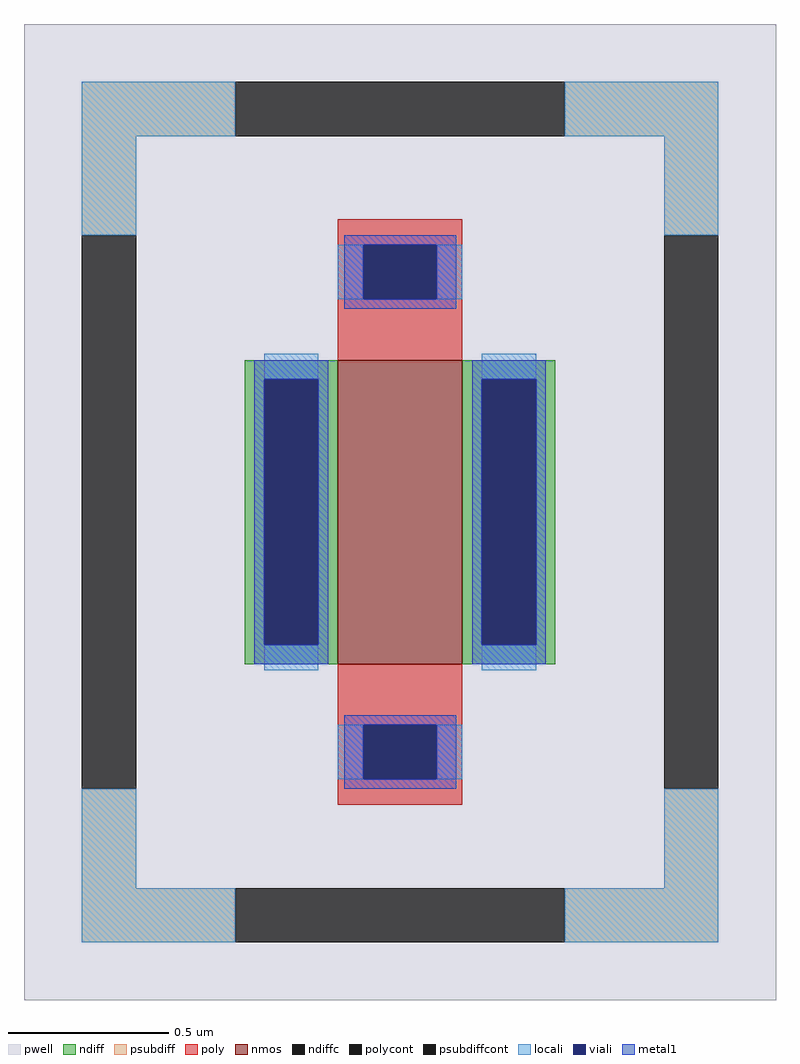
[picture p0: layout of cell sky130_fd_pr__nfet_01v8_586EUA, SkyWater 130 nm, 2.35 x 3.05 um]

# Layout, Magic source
magic
tech sky130A
magscale 1 2
<< pwell >>
rect -235 -305 235 305
<< nmos >>
rect -39 -95 39 95
<< ndiff >>
rect -97 83 -39 95
rect -97 -83 -85 83
rect -51 -83 -39 83
rect -97 -95 -39 -83
rect 39 83 97 95
rect 39 -83 51 83
rect 85 -83 97 83
rect 39 -95 97 -83
<< ndiffc >>
rect -85 -83 -51 83
rect 51 -83 85 83
<< psubdiff >>
rect -199 235 -103 269
rect 103 235 199 269
rect -199 173 -165 235
rect 165 173 199 235
rect -199 -235 -165 -173
rect 165 -235 199 -173
rect -199 -269 -103 -235
rect 103 -269 199 -235
<< psubdiffcont >>
rect -103 235 103 269
rect -199 -173 -165 173
rect 165 -173 199 173
rect -103 -269 103 -235
<< poly >>
rect -39 167 39 183
rect -39 133 -23 167
rect 23 133 39 167
rect -39 95 39 133
rect -39 -133 39 -95
rect -39 -167 -23 -133
rect 23 -167 39 -133
rect -39 -183 39 -167
<< polycont >>
rect -23 133 23 167
rect -23 -167 23 -133
<< locali >>
rect -199 235 -103 269
rect 103 235 199 269
rect -199 173 -165 235
rect 165 173 199 235
rect -39 133 -23 167
rect 23 133 39 167
rect -85 83 -51 99
rect -85 -99 -51 -83
rect 51 83 85 99
rect 51 -99 85 -83
rect -39 -167 -23 -133
rect 23 -167 39 -133
rect -199 -235 -165 -173
rect 165 -235 199 -173
rect -199 -269 -103 -235
rect 103 -269 199 -235
<< viali >>
rect -23 133 23 167
rect -85 -83 -51 83
rect 51 -83 85 83
rect -23 -167 23 -133
<< metal1 >>
rect -35 167 35 173
rect -35 133 -23 167
rect 23 133 35 167
rect -35 127 35 133
rect -91 83 -45 95
rect -91 -83 -85 83
rect -51 -83 -45 83
rect -91 -95 -45 -83
rect 45 83 91 95
rect 45 -83 51 83
rect 85 -83 91 83
rect 45 -95 91 -83
rect -35 -133 35 -127
rect -35 -167 -23 -133
rect 23 -167 35 -133
rect -35 -173 35 -167
<< properties >>
string FIXED_BBOX -182 -252 182 252
string gencell sky130_fd_pr__nfet_01v8
string library sky130
string parameters w 0.95 l 0.39 m 1 nf 1 diffcov 100 polycov 100 guard 1 glc 1 grc 1 gtc 1 gbc 1 tbcov 100 rlcov 100 topc 1 botc 1 poverlap 0 doverlap 1 lmin 0.15 wmin 0.42 compatible {sky130_fd_pr__nfet_01v8 sky130_fd_pr__nfet_01v8_lvt  sky130_fd_bs_flash__special_sonosfet_star  sky130_fd_pr__nfet_g5v0d10v5 sky130_fd_pr__nfet_05v0_nvt  sky130_fd_pr__nfet_03v3_nvt} full_metal 1 viasrc 100 viadrn 100 viagate 100 viagb 0 viagr 0 viagl 0 viagt 0
<< end >>
